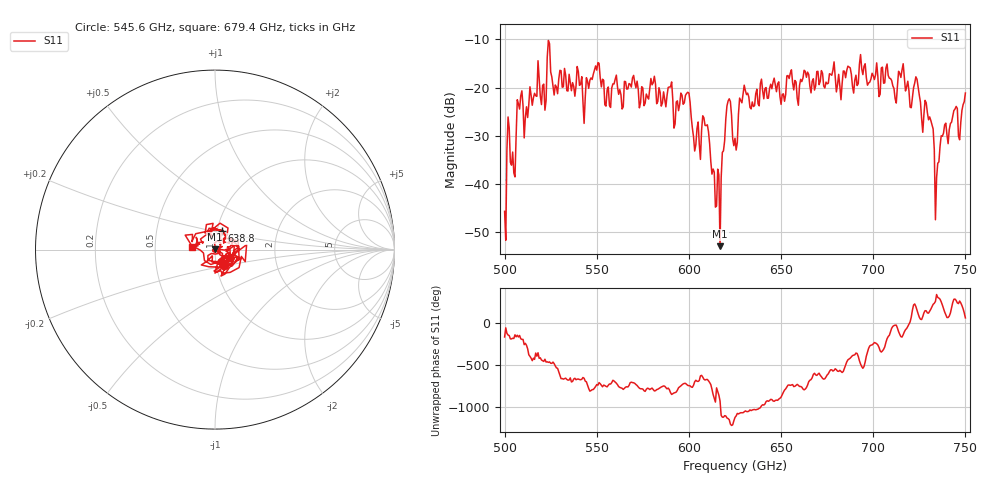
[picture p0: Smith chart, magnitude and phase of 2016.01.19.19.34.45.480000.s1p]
!Created with skrf (http://scikit-rf.org).
# GHz S RI R 50.0
!freq ReS11 ImS11
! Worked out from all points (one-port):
!   401 points, 500 GHz to 750 GHz, reference 50 ohm
!   lowest |S11| = -52.9 dB at 616.9 GHz (marker M1), VSWR 1.00, Z = 49.8 + j0.104 ohm
!   |S11| at or under -10 dB: start of sweep to end of sweep
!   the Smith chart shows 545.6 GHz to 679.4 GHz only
!   S11 on the Smith chart (normalised r, x): 545.6 GHz: 1.08, -0.19; 638.8 GHz: 1.05, +0.22; 679.4 GHz: 0.78, +0.02
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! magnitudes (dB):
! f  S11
! 500 GHz  -45.7
! 502.5 GHz  -28.4
! 504.4 GHz  -33.4
! 508.1 GHz  -24.5
! 521.2 GHz  -19.3
! 524.4 GHz  -10.9
! 527.5 GHz  -19.5
! 531.2 GHz  -19.9
! 545.6 GHz  -20.2
! 562.5 GHz  -20.4
! 580.6 GHz  -19.0
! 593.8 GHz  -22.8
! 605 GHz  -27.1
! 608.8 GHz  -27.9
! 615.6 GHz  -36.9
! 616.9 GHz  -52.9
! 621.2 GHz  -22.8
! 625 GHz  -30.5
! 628.8 GHz  -23.2
! 638.8 GHz  -19.2
! 656.2 GHz  -19.0
! 679.4 GHz  -17.9
! 687.5 GHz  -15.9
! 718.8 GHz  -18.7
! 729.4 GHz  -25.2
! 734.4 GHz  -38.7
! 738.1 GHz  -29.4
! 750 GHz  -21.1
